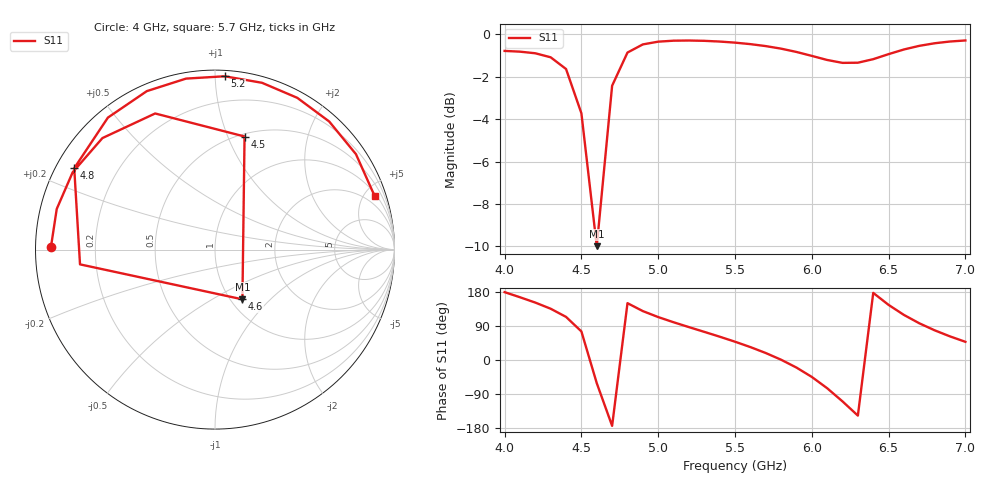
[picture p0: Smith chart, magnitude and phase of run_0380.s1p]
! Touchstone file exported from HFSS 2024.2.0
!  File:  C:/Users/wsak9/Desktop/Sim Fast/Widenad Patch/WP_AI_V1_sweep.aedt
!  Generated:  07:15:20 AM Oct 14, 2026
!  Design:  A1_model
!  Project:  WP_AI_V1_sweep
!  Setup:  Setup1
!  Solution:  Sweep
! Variables:
!  Air_gap = 4.47mm
!  Curve_Amp1 = 2.05
!  Curve_len1 = 1
!  Curve_pos = 13.12mm
!  Extra = 3.82mm
!  H_sub = 0.79mm
!  L_Patch = 22.24mm
!  L_Patch1 = 19.24mm
!  Sx = 3.75mm
!  Sy = 0.35mm
!  WS = 0.41mm
!  W_Patch = 10.51mm
!  W_Patch1 = 15.42mm
!Data is not renormalized
# GHz S MA
! Terminal data exported
! Port[1] = 1
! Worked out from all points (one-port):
!   31 points, 4 GHz to 7 GHz, reference per port
!   lowest |S11| = -10.0 dB at 4.6 GHz (marker M1), VSWR 1.93
!   |S11| at or under -10 dB: nowhere
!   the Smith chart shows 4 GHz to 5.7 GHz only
!   S11 on the Smith chart (normalised r, x): 4 GHz: 0.04, +0.01; 4.5 GHz: 0.53, +1.15; 4.6 GHz: 1.13, -0.70; 4.8 GHz: 0.05, +0.27; 5.2 GHz: 0.04, +1.06; 5.7 GHz: 1.19, +5.92
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4  0.9141 179.1
4.1  0.9104 165.6
4.2  0.9024 151.5
4.3  0.8829 135.3
4.4  0.8285 113.7
4.5  0.6512 75.4
4.6  0.3164 -61.1
4.7  0.7565 -173.8
4.8  0.906 150.0
4.9  0.947 129.1
5  0.9612 113.3
5.1  0.9663 99.6
5.2  0.9672 86.8
5.4  0.9618 61.5
5.5  0.9561 48.3
5.7  0.9384 18.5
5.8  0.9254 0.7
5.9  0.9089 -19.9
6  0.8897 -44.7
6.1  0.8702 -74.5
6.2  0.8566 -109.2
6.3  0.8573 -146.7
6.4  0.874 177.1
6.5  0.8982 145.4
6.6  0.9213 118.9
6.7  0.9396 96.9
6.8  0.9529 78.3
7  0.9675 48.0
